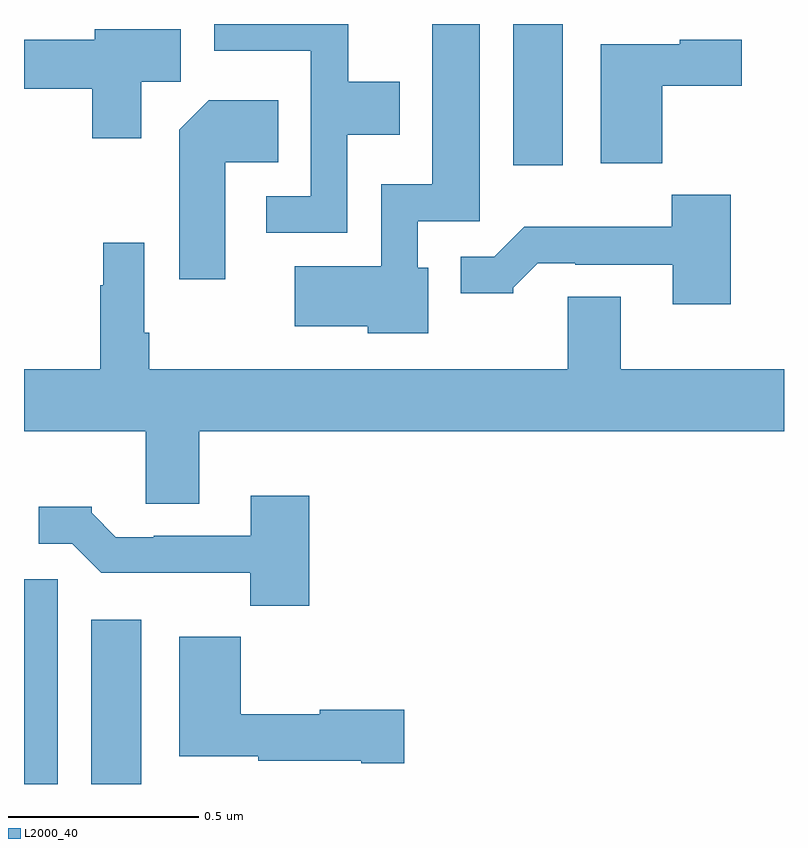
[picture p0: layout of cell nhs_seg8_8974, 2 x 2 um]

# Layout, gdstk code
import gdstk
lib = gdstk.Library(unit=1e-6, precision=1e-09)
def R(c, l, rs):  # rectangles x0, y0, x1, y1
    for r in rs: c.add(gdstk.rectangle(r[:2], r[2:], *l))
def P(c, l, *ps):  # polygons
    for p in ps: c.add(gdstk.Polygon(p, *l))
L2000_40 = (2000, 40)

nhs_seg8_8974 = lib.new_cell('nhs_seg8_8974')
R(nhs_seg8_8974, L2000_40, [(230,1120.9,230.089,1121.439), (230.177,1120.9,230.308,1121.332), (231.287,1122.528,231.418,1122.9)])
P(nhs_seg8_8974, L2000_40, [(230.85,1122.608),(230.989,1122.608),(230.989,1122.748),(230.853,1122.748),(230.853,1122.9),(230.501,1122.9),(230.501,1122.83),(230.754,1122.83),(230.754,1122.447),(230.637,1122.447),(230.637,1122.351),(230.85,1122.351)],
  [(231.064,1122.258),(231.036,1122.258),(231.036,1122.381),(231.199,1122.381),(231.199,1122.9),(231.074,1122.9),(231.074,1122.478),(230.94,1122.478),(230.94,1122.262),(230.712,1122.262),(230.712,1122.104),(230.904,1122.104),(230.904,1122.086),(231.064,1122.086)],
  [(230.308,1122.748),(230.413,1122.748),(230.413,1122.886),(230.186,1122.886),(230.186,1122.859),(230,1122.859),(230,1122.73),(230.179,1122.73),(230.179,1122.6),(230.308,1122.6)],
  [(231.68,1122.737),(231.889,1122.737),(231.889,1122.859),(231.726,1122.859),(231.726,1122.847),(231.518,1122.847),(231.518,1122.533),(231.68,1122.533)],
  [(230.53,1122.536),(230.669,1122.536),(230.669,1122.7),(230.486,1122.7),(230.408,1122.622),(230.408,1122.228),(230.53,1122.228)],
  [(231.86,1122.451),(231.705,1122.451),(231.705,1122.367),(231.316,1122.367),(231.237,1122.288),(231.149,1122.288),(231.149,1122.191),(231.288,1122.191),(231.288,1122.206),(231.352,1122.27),(231.451,1122.27),(231.451,1122.267),(231.707,1122.267),(231.707,1122.162),(231.86,1122.162)],
  [(230.461,1121.828),(232,1121.828),(232,1121.992),(231.571,1121.992),(231.571,1122.182),(231.431,1122.182),(231.431,1121.992),(230.329,1121.992),(230.329,1122.088),(230.316,1122.088),(230.316,1122.325),(230.208,1122.325),(230.208,1122.212),(230.2,1122.212),(230.2,1121.992),(230,1121.992),(230,1121.828),(230.321,1121.828),(230.321,1121.638),(230.461,1121.638)],
  [(230.75,1121.659),(230.597,1121.659),(230.597,1121.553),(230.341,1121.553),(230.341,1121.55),(230.242,1121.55),(230.178,1121.614),(230.178,1121.629),(230.039,1121.629),(230.039,1121.532),(230.127,1121.532),(230.203,1121.456),(230.595,1121.456),(230.595,1121.369),(230.75,1121.369)],
  [(231.001,1121.096),(230.778,1121.096),(230.778,1121.083),(230.57,1121.083),(230.57,1121.287),(230.408,1121.287),(230.408,1120.973),(230.616,1120.973),(230.616,1120.961),(230.888,1120.961),(230.888,1120.954),(231.001,1120.954)])

lib.write_gds('nhs_seg8_8974.gds')
